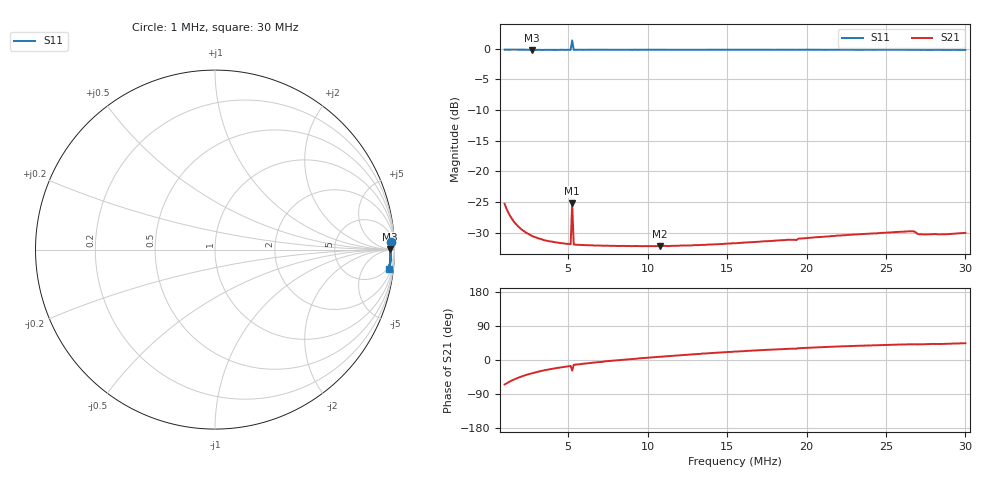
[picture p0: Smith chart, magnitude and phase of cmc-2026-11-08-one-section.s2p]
!File created by NanoVNA-F V2
# Hz S RI R 50
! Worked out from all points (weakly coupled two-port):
!   301 points, 1 MHz to 30 MHz, reference 50 ohm
!   highest |S21| = -25.20 dB at 5.253 MHz (marker M1); lowest = -32.2 dB at 10.76 MHz (marker M2)
!   lowest |S11| = -0.2 dB at 2.74 MHz (marker M3), VSWR 75.62, Z = 3.78e+03 + j88.7 ohm
!   |S11| at or under -10 dB: nowhere
!   S12 and S22 are empty: the file has one direction only
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1000000  0.9794 0.042  0.0233 -0.0492  0 0  0 0
1289998  0.9801 0.0304  0.0239 -0.0377  0 0  0 0
1676662  0.9817 0.019  0.0243 -0.0288  0 0  0 0
2159992  0.9806 0.00749  0.0244 -0.0221  0 0  0 0
2739988  0.9739 0.000605  0.0244 -0.017  0 0  0 0
3803314  0.9757 -0.00324  0.0245 -0.0112  0 0  0 0
5156638  0.9762 -0.0106  0.0245 -0.0069  0 0  0 0
5253304  -0.0908 1.161  0.0485 -0.0258  0 0  0 0
5349970  0.9765 -0.00949  0.0247 -0.00557  0 0  0 0
5833300  0.9757 -0.0133  0.0247 -0.00443  0 0  0 0
1.06666e7  0.9774 -0.0323  0.0244 0.0035  0 0  0 0
1.076327e7  0.978 -0.0333  0.0243 0.00365  0 0  0 0
1.54999e7  0.9763 -0.0505  0.024 0.00982  0 0  0 0
1.878654e7  0.9754 -0.0647  0.0241 0.0136  0 0  0 0
1.936654e7  0.9757 -0.0667  0.0239 0.0137  0 0  0 0
1.946321e7  0.9754 -0.0663  0.0242 0.0146  0 0  0 0
2.03332e7  0.9742 -0.07  0.0242 0.0157  0 0  0 0
2.51665e7  0.9733 -0.0877  0.0243 0.0204  0 0  0 0
2.671316e7  0.9732 -0.094  0.0243 0.0215  0 0  0 0
2.700315e7  0.9705 -0.0957  0.0232 0.0203  0 0  0 0
2.748648e7  0.9704 -0.0979  0.0228 0.0204  0 0  0 0
2.99998e7  0.9688 -0.1084  0.0226 0.022  0 0  0 0
